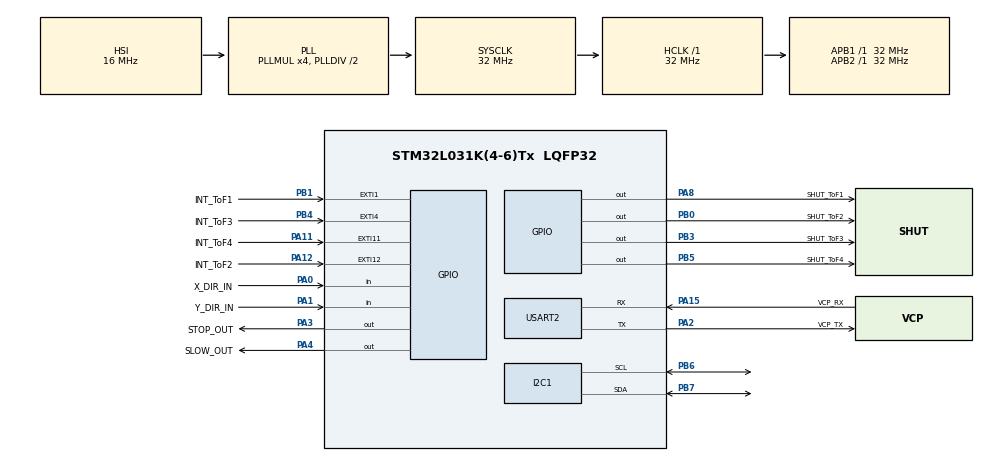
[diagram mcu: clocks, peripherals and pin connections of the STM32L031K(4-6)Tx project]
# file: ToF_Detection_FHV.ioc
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I2C1.Timing=0x00B07CB4
Mcu.Family=STM32L0
Mcu.Name=STM32L031K(4-6)Tx
Mcu.Package=LQFP32
NVIC.EXTI0_1_IRQn=true\:0\:0\:false\:true\:true\:2\:true\:true\:true
NVIC.EXTI4_15_IRQn=true\:0\:0\:false\:true\:true\:1\:true\:true\:true
PA0-CK_IN.GPIO_Label=X_DIR_IN
PA0-CK_IN.GPIO_PuPd=GPIO_PULLDOWN
PA0-CK_IN.Signal=GPIO_Input
PA1.GPIO_Label=Y_DIR_IN
PA1.GPIO_PuPd=GPIO_PULLDOWN
PA1.Signal=GPIO_Input
PA11.GPIO_Label=INT_ToF4
PA11.GPIO_ModeDefaultEXTI=GPIO_MODE_IT_FALLING
PA11.Signal=GPXTI11
PA12.GPIO_Label=INT_ToF2
PA12.GPIO_ModeDefaultEXTI=GPIO_MODE_IT_FALLING
PA12.Signal=GPXTI12
PA13.GPIO_Label=TMS
PA13.Mode=Serial_Wire
PA13.Signal=SYS_SWDIO
PA14.GPIO_Label=TCK
PA14.Mode=Serial_Wire
PA14.Signal=SYS_SWCLK
PA15.GPIO_Label=VCP_RX
PA15.Mode=Asynchronous
PA15.Signal=USART2_RX
PA2.GPIO_Label=VCP_TX
PA2.GPIO_PuPd=GPIO_NOPULL
PA2.Mode=Asynchronous
PA2.Signal=USART2_TX
PA3.GPIO_Label=STOP_OUT
PA3.Signal=GPIO_Output
PA4.GPIO_Label=SLOW_OUT
PA4.Signal=GPIO_Output
PA8.GPIO_Label=SHUT_ToF1
PA8.Signal=GPIO_Output
PB0.GPIO_Label=SHUT_ToF2
PB0.Signal=GPIO_Output
PB1.GPIO_Label=INT_ToF1
PB1.GPIO_ModeDefaultEXTI=GPIO_MODE_IT_FALLING
PB1.Signal=GPXTI1
PB3.GPIO_Label=SHUT_ToF3
PB3.Signal=GPIO_Output
PB4.GPIO_Label=INT_ToF3
PB4.GPIO_ModeDefaultEXTI=GPIO_MODE_IT_FALLING
PB4.Signal=GPXTI4
PB5.GPIO_Label=SHUT_ToF4
PB5.Signal=GPIO_Output
PB6.GPIO_Pu=GPIO_PULLUP
PB6.Mode=I2C
PB6.Signal=I2C1_SCL
PB7.GPIO_Pu=GPIO_PULLUP
PB7.Mode=I2C
PB7.Signal=I2C1_SDA
PC14-OSC32_IN.Mode=LSE-External-Oscillator
PC14-OSC32_IN.Signal=RCC_OSC32_IN
PC15-OSC32_OUT.Mode=LSE-External-Oscillator
PC15-OSC32_OUT.Signal=RCC_OSC32_OUT
ProjectManager.HeapSize=0x200
ProjectManager.StackSize=0x400
ProjectManager.TargetToolchain=STM32CubeIDE
RCC.AHBFreq_Value=32000000
RCC.APB1Freq_Value=32000000
RCC.APB1TimFreq_Value=32000000
RCC.APB2Freq_Value=32000000
RCC.APB2TimFreq_Value=32000000
RCC.HCLKFreq_Value=32000000
RCC.HSE_VALUE=8000000
RCC.HSI16_VALUE=16000000
RCC.HSI48_VALUE=48000000
RCC.HSI_VALUE=16000000
RCC.MSI_VALUE=2097000
RCC.PLLMUL=RCC_PLLMUL_4
RCC.SYSCLKFreq_VALUE=32000000
RCC.SYSCLKSource=RCC_SYSCLKSOURCE_PLLCLK
RCC.VCOOutputFreq_Value=64000000
USART2.VirtualMode-Asynchronous=VM_ASYNC
board=NUCLEO-L031K6

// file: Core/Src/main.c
/* USER CODE BEGIN Header */
/**
  ******************************************************************************
  * @file           : main.c
  * @brief          : Main program body
  ******************************************************************************
  * @attention
  *
  * Copyright (c) 2024 STMicroelectronics.
  * All rights reserved.
  *
  * This software is licensed under terms that can be found in the LICENSE file
  * in the root directory of this software component.
  * If no LICENSE file comes with this software, it is provided AS-IS.
  *
  ******************************************************************************
  */
/* USER CODE END Header */
#include "main.h"

/* USER CODE BEGIN Includes */
#include "VL53L1X_api.h"
#include "VL53L1X_calibration.h"
#include "tof_ctrl.h"

/* USER CODE END Includes */

/* USER CODE BEGIN PD */
#define DISTANCE_SLOW	70
#define DISTANCE_STOP	20
/* USER CODE END PD */

/* USER CODE BEGIN PM */
#define MIN(a, b) ((a) < (b) ? (a) : (b))
/* USER CODE END PM */

I2C_HandleTypeDef hi2c1;

UART_HandleTypeDef huart2;

/* USER CODE BEGIN PV */
VL53L1_Dev_t tof_1;
VL53L1_Dev_t tof_2;
VL53L1_Dev_t tof_3;
VL53L1_Dev_t tof_4;

/* USER CODE END PV */

void SystemClock_Config(void);
static void MX_GPIO_Init(void);
static void MX_USART2_UART_Init(void);
static void MX_I2C1_Init(void);
static void MX_NVIC_Init(void);
/* USER CODE BEGIN PFP */
#define PUTCHAR_PROTOTYPE int __io_putchar(int ch)
static void TOF1_Init(void);
static void TOF2_Init(void);
static void TOF3_Init(void);
static void TOF4_Init(void);

/* USER CODE END PFP */

int main(void)
{

  /* MCU Configuration--------------------------------------------------------*/

  /* Reset of all peripherals, Initializes the Flash interface and the Systick. */
  HAL_Init();

  /* Configure the system clock */
  SystemClock_Config();

  /* Initialize all configured peripherals */
  MX_GPIO_Init();
  MX_USART2_UART_Init();
  MX_I2C1_Init();

  /* Initialize interrupts */
  MX_NVIC_Init();
  /* USER CODE BEGIN 2 */
  TOF1_Init();
  TOF2_Init();
  TOF3_Init();
  TOF4_Init();
  tof_ctrl_boot(&tof_1, 0x10);
  //tof_ctrl_boot(&tof_2, 0x20);
  //tof_ctrl_boot(&tof_3, 0x30);
  //tof_ctrl_boot(&tof_4, 0x40);

  uint16_t distance = 0;
  uint16_t minDistance = 0;

  /* USER CODE END 2 */

  /* Infinite loop */
  /* USER CODE BEGIN WHILE */
  while (1)
  {
	  minDistance = 1000;

	  if(HAL_GPIO_ReadPin(X_DIR_IN_GPIO_Port, X_DIR_IN_Pin) == GPIO_PIN_RESET){
		  tof_ctrl_get_distance(&tof_1, &distance, 500);
		  minDistance = MIN(distance, minDistance);
		  //tof_ctrl_get_distance(&tof_2, &distance, 200);
		  //minDistance = MIN(distance, minDistance);
	  }

	  if(HAL_GPIO_ReadPin(Y_DIR_IN_GPIO_Port, Y_DIR_IN_Pin) == GPIO_PIN_SET){
		  tof_ctrl_get_distance(&tof_3, &distance, 200);
		  minDistance = MIN(distance, minDistance);
		  tof_ctrl_get_distance(&tof_4, &distance, 200);
		  minDistance = MIN(distance, minDistance);
	  }

	  printf("Min. Distance: %dmm\r\n", minDistance);

	  if(minDistance < DISTANCE_SLOW){
		  HAL_GPIO_WritePin(SLOW_OUT_GPIO_Port, SLOW_OUT_Pin, GPIO_PIN_SET);
		  printf("SLOW!\r\n");
	  } else {
		  HAL_GPIO_WritePin(SLOW_OUT_GPIO_Port, SLOW_OUT_Pin, GPIO_PIN_RESET);
	  }

	  if(minDistance < DISTANCE_STOP){
		  HAL_GPIO_WritePin(STOP_OUT_GPIO_Port, SLOW_OUT_Pin, GPIO_PIN_SET);
		  printf("STOP!\r\n");
	  } else {
		  HAL_GPIO_WritePin(STOP_OUT_GPIO_Port, SLOW_OUT_Pin, GPIO_PIN_RESET);
	  }

    /* USER CODE END WHILE */

  }
}

void SystemClock_Config(void)
{
  RCC_OscInitTypeDef RCC_OscInitStruct = {0};
  RCC_ClkInitTypeDef RCC_ClkInitStruct = {0};
  RCC_PeriphCLKInitTypeDef PeriphClkInit = {0};

  /** Configure the main internal regulator output voltage
  */
  __HAL_PWR_VOLTAGESCALING_CONFIG(PWR_REGULATOR_VOLTAGE_SCALE1);

  /** Initializes the RCC Oscillators according to the specified parameters
  * in the RCC_OscInitTypeDef structure.
  */
  RCC_OscInitStruct.OscillatorType = RCC_OSCILLATORTYPE_HSI;
  RCC_OscInitStruct.HSIState = RCC_HSI_ON;
  RCC_OscInitStruct.HSICalibrationValue = RCC_HSICALIBRATION_DEFAULT;
  RCC_OscInitStruct.PLL.PLLState = RCC_PLL_ON;
  RCC_OscInitStruct.PLL.PLLSource = RCC_PLLSOURCE_HSI;
  RCC_OscInitStruct.PLL.PLLMUL = RCC_PLLMUL_4;
  RCC_OscInitStruct.PLL.PLLDIV = RCC_PLLDIV_2;
  if (HAL_RCC_OscConfig(&RCC_OscInitStruct) != HAL_OK)
  {
    Error_Handler();
  }

  /** Initializes the CPU, AHB and APB buses clocks
  */
  RCC_ClkInitStruct.ClockType = RCC_CLOCKTYPE_HCLK|RCC_CLOCKTYPE_SYSCLK
                              |RCC_CLOCKTYPE_PCLK1|RCC_CLOCKTYPE_PCLK2;
  RCC_ClkInitStruct.SYSCLKSource = RCC_SYSCLKSOURCE_PLLCLK;
  RCC_ClkInitStruct.AHBCLKDivider = RCC_SYSCLK_DIV1;
  RCC_ClkInitStruct.APB1CLKDivider = RCC_HCLK_DIV1;
  RCC_ClkInitStruct.APB2CLKDivider = RCC_HCLK_DIV1;

  if (HAL_RCC_ClockConfig(&RCC_ClkInitStruct, FLASH_LATENCY_1) != HAL_OK)
  {
    Error_Handler();
  }
  PeriphClkInit.PeriphClockSelection = RCC_PERIPHCLK_USART2|RCC_PERIPHCLK_I2C1;
  PeriphClkInit.Usart2ClockSelection = RCC_USART2CLKSOURCE_PCLK1;
  PeriphClkInit.I2c1ClockSelection = RCC_I2C1CLKSOURCE_PCLK1;
  if (HAL_RCCEx_PeriphCLKConfig(&PeriphClkInit) != HAL_OK)
  {
    Error_Handler();
  }
}

/**
  * @brief NVIC Configuration.
  * @retval None
  */
static void MX_NVIC_Init(void)
{
  /* EXTI4_15_IRQn interrupt configuration */
  HAL_NVIC_SetPriority(EXTI4_15_IRQn, 0, 0);
  HAL_NVIC_EnableIRQ(EXTI4_15_IRQn);
  /* EXTI0_1_IRQn interrupt configuration */
  HAL_NVIC_SetPriority(EXTI0_1_IRQn, 0, 0);
  HAL_NVIC_EnableIRQ(EXTI0_1_IRQn);
}

static void MX_I2C1_Init(void)
{

  hi2c1.Instance = I2C1;
  hi2c1.Init.Timing = 0x00B07CB4;
  hi2c1.Init.OwnAddress1 = 0;
  hi2c1.Init.AddressingMode = I2C_ADDRESSINGMODE_7BIT;
  hi2c1.Init.DualAddressMode = I2C_DUALADDRESS_DISABLE;
  hi2c1.Init.OwnAddress2 = 0;
  hi2c1.Init.OwnAddress2Masks = I2C_OA2_NOMASK;
  hi2c1.Init.GeneralCallMode = I2C_GENERALCALL_DISABLE;
  hi2c1.Init.NoStretchMode = I2C_NOSTRETCH_DISABLE;
  if (HAL_I2C_Init(&hi2c1) != HAL_OK)
  {
    Error_Handler();
  }

  /** Configure Analogue filter
  */
  if (HAL_I2CEx_ConfigAnalogFilter(&hi2c1, I2C_ANALOGFILTER_ENABLE) != HAL_OK)
  {
    Error_Handler();
  }

  /** Configure Digital filter
  */
  if (HAL_I2CEx_ConfigDigitalFilter(&hi2c1, 0) != HAL_OK)
  {
    Error_Handler();
  }

}

static void MX_USART2_UART_Init(void)
{

  huart2.Instance = USART2;
  huart2.Init.BaudRate = 115200;
  huart2.Init.WordLength = UART_WORDLENGTH_8B;
  huart2.Init.StopBits = UART_STOPBITS_1;
  huart2.Init.Parity = UART_PARITY_NONE;
  huart2.Init.Mode = UART_MODE_TX_RX;
  huart2.Init.HwFlowCtl = UART_HWCONTROL_NONE;
  huart2.Init.OverSampling = UART_OVERSAMPLING_16;
  huart2.Init.OneBitSampling = UART_ONE_BIT_SAMPLE_DISABLE;
  huart2.AdvancedInit.AdvFeatureInit = UART_ADVFEATURE_NO_INIT;
  if (HAL_UART_Init(&huart2) != HAL_OK)
  {
    Error_Handler();
  }

}

static void MX_GPIO_Init(void)
{
  GPIO_InitTypeDef GPIO_InitStruct = {0};

  /* GPIO Ports Clock Enable */
  __HAL_RCC_GPIOC_CLK_ENABLE();
  __HAL_RCC_GPIOA_CLK_ENABLE();
  __HAL_RCC_GPIOB_CLK_ENABLE();

  /*Configure GPIO pin Output Level */
  HAL_GPIO_WritePin(GPIOA, STOP_OUT_Pin|SLOW_OUT_Pin|SHUT_ToF1_Pin, GPIO_PIN_RESET);

  /*Configure GPIO pin Output Level */
  HAL_GPIO_WritePin(GPIOB, SHUT_ToF2_Pin|SHUT_ToF3_Pin|SHUT_ToF4_Pin, GPIO_PIN_RESET);

  /*Configure GPIO pins : X_DIR_IN_Pin Y_DIR_IN_Pin */
  GPIO_InitStruct.Pin = X_DIR_IN_Pin|Y_DIR_IN_Pin;
  GPIO_InitStruct.Mode = GPIO_MODE_INPUT;
  GPIO_InitStruct.Pull = GPIO_PULLDOWN;
  HAL_GPIO_Init(GPIOA, &GPIO_InitStruct);

  /*Configure GPIO pins : STOP_OUT_Pin SLOW_OUT_Pin SHUT_ToF1_Pin */
  GPIO_InitStruct.Pin = STOP_OUT_Pin|SLOW_OUT_Pin|SHUT_ToF1_Pin;
  GPIO_InitStruct.Mode = GPIO_MODE_OUTPUT_PP;
  GPIO_InitStruct.Pull = GPIO_NOPULL;
  GPIO_InitStruct.Speed = GPIO_SPEED_FREQ_LOW;
  HAL_GPIO_Init(GPIOA, &GPIO_InitStruct);

  /*Configure GPIO pins : SHUT_ToF2_Pin SHUT_ToF3_Pin SHUT_ToF4_Pin */
  GPIO_InitStruct.Pin = SHUT_ToF2_Pin|SHUT_ToF3_Pin|SHUT_ToF4_Pin;
  GPIO_InitStruct.Mode = GPIO_MODE_OUTPUT_PP;
  GPIO_InitStruct.Pull = GPIO_NOPULL;
  GPIO_InitStruct.Speed = GPIO_SPEED_FREQ_LOW;
  HAL_GPIO_Init(GPIOB, &GPIO_InitStruct);

  /*Configure GPIO pins : INT_ToF1_Pin INT_ToF3_Pin */
  GPIO_InitStruct.Pin = INT_ToF1_Pin|INT_ToF3_Pin;
  GPIO_InitStruct.Mode = GPIO_MODE_IT_FALLING;
  GPIO_InitStruct.Pull = GPIO_NOPULL;
  HAL_GPIO_Init(GPIOB, &GPIO_InitStruct);

  /*Configure GPIO pins : INT_ToF4_Pin INT_ToF2_Pin */
  GPIO_InitStruct.Pin = INT_ToF4_Pin|INT_ToF2_Pin;
  GPIO_InitStruct.Mode = GPIO_MODE_IT_FALLING;
  GPIO_InitStruct.Pull = GPIO_NOPULL;
  HAL_GPIO_Init(GPIOA, &GPIO_InitStruct);

}

/* USER CODE BEGIN 4 */

static void TOF1_Init(){
	tof_1.tof_addr = 0x52;
	tof_1.tof_port = SHUT_ToF1_GPIO_Port;
	tof_1.tof_pin = SHUT_ToF1_Pin;
	tof_1.tof_intport = INT_ToF1_GPIO_Port;
	tof_1.tof_intpin = INT_ToF1_Pin;
}

static void TOF2_Init(){
	tof_2.tof_addr = 0x52;
	tof_2.tof_port = SHUT_ToF2_GPIO_Port;
	tof_2.tof_pin = SHUT_ToF2_Pin;
	tof_2.tof_intport = INT_ToF2_GPIO_Port;
	tof_2.tof_intpin = INT_ToF2_Pin;
}

static void TOF3_Init(){
	tof_3.tof_addr = 0x52;
	tof_3.tof_port = SHUT_ToF3_GPIO_Port;
	tof_3.tof_pin = SHUT_ToF3_Pin;
	tof_3.tof_intport = INT_ToF3_GPIO_Port;
	tof_3.tof_intpin = INT_ToF3_Pin;
}

static void TOF4_Init(){
	tof_4.tof_addr = 0x52;
	tof_4.tof_port = SHUT_ToF4_GPIO_Port;
	tof_4.tof_pin = SHUT_ToF4_Pin;
	tof_4.tof_intport = INT_ToF4_GPIO_Port;
	tof_4.tof_intpin = INT_ToF4_Pin;
}

/**
  * @brief  Retargets the C library printf function to the USART.
  *   None
  * @retval None
  */
PUTCHAR_PROTOTYPE
{
  /* Place your implementation of fputc here */
  /* e.g. write a character to the USART1 and Loop until the end of transmission */
  HAL_UART_Transmit(&huart2, (uint8_t *)&ch, 1, 0xFFFF);

  return ch;
}

/* USER CODE END 4 */

void Error_Handler(void)
{
  __disable_irq();
  while (1)
  {
  }
}
